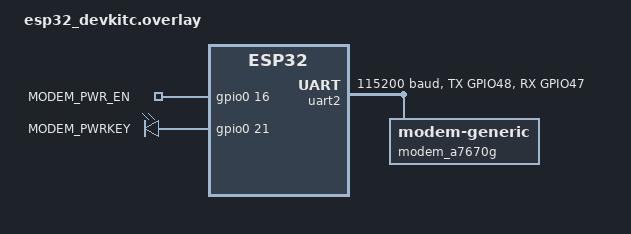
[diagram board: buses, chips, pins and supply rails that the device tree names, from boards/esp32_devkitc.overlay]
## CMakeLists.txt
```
cmake_minimum_required(VERSION 3.20.0)

set(BOARD esp32_devkitc/esp32/procpu)
set(DTC_OVERLAY_FILE boards/esp32_devkitc.overlay)

find_package(Zephyr REQUIRED HINTS $ENV{ZEPHYR_BASE})
project(simcomdemo)

target_sources(app PRIVATE src/main.c)
```

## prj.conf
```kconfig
CONFIG_NEWLIB_LIBC=y

CONFIG_MODEM_MODULES=y
CONFIG_MODEM_BACKEND_UART=y
CONFIG_MODEM_CMUX=y
CONFIG_MODEM_PIPE=y
CONFIG_MODEM_CHAT=y
CONFIG_MODEM_PPP=y

CONFIG_UART_INTERRUPT_DRIVEN=y

CONFIG_NETWORKING=y
CONFIG_NET_L2_PPP=y
CONFIG_NET_IPV4=y
CONFIG_NET_IPV6=n
CONFIG_NET_UDP=y
CONFIG_NET_SOCKETS=y
CONFIG_NET_STATISTICS=y

CONFIG_SHELL=y
CONFIG_NET_SHELL=y
CONFIG_LOG=y

CONFIG_MAIN_STACK_SIZE=8192
CONFIG_HEAP_MEM_POOL_SIZE=65536
```

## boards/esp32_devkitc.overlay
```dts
/ {
    chosen {
        zephyr,ppp-uart = &uart2;
    };

    aliases {
        modem = &modem_a7670g;
    };

    modem_pins: modem_pins {
        compatible = "gpio-leds";

        power: mdm_pwr {
            gpios = <&gpio0 16 GPIO_ACTIVE_HIGH>;
            label = "MODEM_PWR_EN";
        };

        pwrkey: mdm_pwrkey {
            gpios = <&gpio0 21 GPIO_ACTIVE_HIGH>;
            label = "MODEM_PWRKEY";
        };
    };
};

&uart2 {
    status = "okay";
    current-speed = <115200>;
    pinctrl-0 = <&uart2_default>;
    pinctrl-names = "default";

    modem_a7670g: modem {
        compatible = "zephyr,modem-generic";
        status = "okay";
    };
};

&pinctrl {
    uart2_default: uart2_default {
        group1 {
            pinmux = <UART2_TX_GPIO48>;
        };
        group2 {
            pinmux = <UART2_RX_GPIO47>;
            bias-pull-up;
        };
    };
};
```

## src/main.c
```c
#include <zephyr/kernel.h>
#include <zephyr/device.h>
#include <zephyr/drivers/gpio.h>
#include <zephyr/drivers/uart.h>
#include <zephyr/modem/backend/uart.h>
#include <zephyr/modem/pipe.h>
#include <zephyr/modem/chat.h>
#include <zephyr/modem/cmux.h>
#include <zephyr/logging/log.h>

LOG_MODULE_REGISTER(modem, LOG_LEVEL_INF);

#define MODEM_STABILIZATION_MS  100
#define MODEM_PWRKEY_PULSE_MS   100
#define MODEM_BOOT_DELAY_SEC    13

static const struct gpio_dt_spec pwr_en =
    GPIO_DT_SPEC_GET(DT_NODELABEL(power), gpios);
static const struct gpio_dt_spec pwrkey =
    GPIO_DT_SPEC_GET(DT_NODELABEL(pwrkey), gpios);

static uint8_t uart_rx_buf[1024];
static uint8_t uart_tx_buf[256];
static struct modem_backend_uart uart_backend;
static const struct device *uart_dev = DEVICE_DT_GET(DT_NODELABEL(uart2));

static struct modem_chat chat;
static uint8_t chat_rx_buf[512];
static uint8_t *chat_argv[12];
static K_SEM_DEFINE(script_done, 0, 1);

static struct modem_cmux cmux;
static uint8_t cmux_rx_buf[512];
static uint8_t cmux_tx_buf[512];
static K_SEM_DEFINE(cmux_connected_sem, 0, 1);

static struct modem_cmux_dlci dlci_at;
static struct modem_pipe *at_pipe;
static uint8_t at_rx_buf[512];

static struct modem_cmux_dlci dlci_data;
static struct modem_pipe *data_pipe;
static uint8_t data_rx_buf[1500];

static void dump_cb(struct modem_chat *chat,
                    char **argv, uint16_t argc, void *user_data)
{
    for (uint16_t i = 0; i < argc; i++) {
        if (argv[i]) {
            LOG_INF("MODEM RX [%u]: \"%s\"", i, argv[i]);
        }
    }
}

static void script_cb(struct modem_chat *chat,
                      enum modem_chat_script_result result,
                      void *user_data)
{
    LOG_INF("AT script finished (%d)", result);
    k_sem_give(&script_done);
}

static void cmux_event_handler(struct modem_cmux *cmux,
                               enum modem_cmux_event event,
                               void *user_data)
{
    switch (event) {
    case MODEM_CMUX_EVENT_CONNECTED:
        LOG_INF("CMUX connected!");
        k_sem_give(&cmux_connected_sem);
        break;
    case MODEM_CMUX_EVENT_DISCONNECTED:
        LOG_WRN("CMUX disconnected");
        break;
    }
}

static const struct modem_chat_match ok_match =
    MODEM_CHAT_MATCH("OK", "", dump_cb);

static const struct modem_chat_match abort_matches[] = {
    MODEM_CHAT_MATCH("ERROR", "", dump_cb),
};

static const struct modem_chat_script_chat device_cmds[] = {
    MODEM_CHAT_SCRIPT_CMD_RESP("ATE0\r\n", ok_match),
    MODEM_CHAT_SCRIPT_CMD_RESP("AT\r\n", ok_match),
};

MODEM_CHAT_SCRIPT_DEFINE(device_script,
    device_cmds, abort_matches, script_cb, 5);

static const struct modem_chat_script_chat network_cmds[] = {
    MODEM_CHAT_SCRIPT_CMD_RESP("AT+CPIN?\r\n", ok_match),
    MODEM_CHAT_SCRIPT_CMD_RESP("AT+CSQ\r\n", ok_match),
    MODEM_CHAT_SCRIPT_CMD_RESP("AT+CREG?\r\n", ok_match),
};

MODEM_CHAT_SCRIPT_DEFINE(network_script,
    network_cmds, abort_matches, script_cb, 5);

static const struct modem_chat_script_chat cmux_cmds[] = {
    MODEM_CHAT_SCRIPT_CMD_RESP("AT+CMUX=0\r\n", ok_match),
};

MODEM_CHAT_SCRIPT_DEFINE(cmux_script,
    cmux_cmds, abort_matches, script_cb, 5);

static int modem_power_on(void)
{
    int ret;

    if (!gpio_is_ready_dt(&pwr_en)) {
        LOG_ERR("PWR_EN GPIO device not ready");
        return -ENODEV;
    }
    if (!gpio_is_ready_dt(&pwrkey)) {
        LOG_ERR("PWRKEY GPIO device not ready");
        return -ENODEV;
    }

    ret = gpio_pin_configure_dt(&pwr_en, GPIO_OUTPUT_INACTIVE);
    if (ret < 0) return ret;
    ret = gpio_pin_configure_dt(&pwrkey, GPIO_OUTPUT_INACTIVE);
    if (ret < 0) return ret;

    LOG_INF("Step 1: Enabling PWR_EN");
    ret = gpio_pin_set_dt(&pwr_en, 1);
    if (ret < 0) return ret;
    k_sleep(K_MSEC(MODEM_STABILIZATION_MS));

    LOG_INF("Step 2: PWRKEY pulse (%d ms)", MODEM_PWRKEY_PULSE_MS);
    ret = gpio_pin_set_dt(&pwrkey, 1);
    if (ret < 0) return ret;
    k_sleep(K_MSEC(MODEM_PWRKEY_PULSE_MS));
    ret = gpio_pin_set_dt(&pwrkey, 0);
    if (ret < 0) return ret;

    LOG_INF("Step 3: Waiting for modem boot (%d s)...", MODEM_BOOT_DELAY_SEC);
    k_sleep(K_SECONDS(MODEM_BOOT_DELAY_SEC));

    LOG_INF("Modem power-on sequence completed");
    return 0;
}

int main(void)
{
    int ret;

    LOG_INF("Starting Application...");

    ret = modem_power_on();
    if (ret < 0) {
        LOG_ERR("Failed to power on modem: %d. Application halted.", ret);
        return ret;
    }

    if (!device_is_ready(uart_dev)) {
        LOG_ERR("UART device not ready");
        return -ENODEV;
    }
    LOG_INF("UART device ready: %s", uart_dev->name);

    const struct modem_backend_uart_config uart_config = {
        .uart = uart_dev,
        .receive_buf = uart_rx_buf,
        .receive_buf_size = sizeof(uart_rx_buf),
        .transmit_buf = uart_tx_buf,
        .transmit_buf_size = sizeof(uart_tx_buf),
    };

    struct modem_pipe *uart_pipe = modem_backend_uart_init(
        &uart_backend, &uart_config);
    if (uart_pipe == NULL) {
        LOG_ERR("Failed to initialize UART backend");
        return -EIO;
    }
    LOG_INF("UART backend initialized: %p", uart_pipe);

    ret = modem_pipe_open(uart_pipe);
    if (ret < 0) {
        LOG_ERR("Failed to open UART pipe: %d", ret);
        return ret;
    }
    LOG_INF("UART pipe opened");

    modem_chat_init(&chat,
        &(struct modem_chat_config){
            .receive_buf = chat_rx_buf,
            .receive_buf_size = sizeof(chat_rx_buf),
            .delimiter = (uint8_t *)"\r",
            .delimiter_size = 1,
            .filter = (uint8_t *)"\n",
            .filter_size = 1,
            .argv = chat_argv,
            .argv_size = ARRAY_SIZE(chat_argv),
            .unsol_matches = NULL,
            .unsol_matches_size = 0,
        });

    modem_chat_attach(&chat, uart_pipe);
    LOG_INF("Chat attached to UART pipe");

    ret = modem_chat_run_script(&chat, &device_script);
    if (ret < 0) {
        LOG_ERR("device_script failed: %d", ret);
        return ret;
    }
    if (k_sem_take(&script_done, K_SECONDS(10)) != 0) {
        LOG_ERR("device_script timeout");
        return -ETIMEDOUT;
    }

    ret = modem_chat_run_script(&chat, &network_script);
    if (ret < 0) {
        LOG_ERR("network_script failed: %d", ret);
        return ret;
    }
    if (k_sem_take(&script_done, K_SECONDS(10)) != 0) {
        LOG_ERR("network_script timeout");
        return -ETIMEDOUT;
    }

    ret = modem_chat_run_script(&chat, &cmux_script);
    if (ret < 0) {
        LOG_ERR("cmux_script failed: %d", ret);
        return ret;
    }
    if (k_sem_take(&script_done, K_SECONDS(10)) != 0) {
        LOG_ERR("cmux_script timeout");
        return -ETIMEDOUT;
    }
    LOG_INF("AT+CMUX=0 OK");

    /* Détacher le chat avant que CMUX prenne le contrôle */
    modem_chat_release(&chat);
    LOG_INF("Chat detached from UART pipe");

    /* CMUX */
    const struct modem_cmux_config cmux_config = {
        .callback = cmux_event_handler,
        .user_data = NULL,
        .receive_buf = cmux_rx_buf,
        .receive_buf_size = sizeof(cmux_rx_buf),
        .transmit_buf = cmux_tx_buf,
        .transmit_buf_size = sizeof(cmux_tx_buf),
    };

    modem_cmux_init(&cmux, &cmux_config);
    LOG_INF("CMUX initialized");

    ret = modem_cmux_attach(&cmux, uart_pipe);
    if (ret < 0) {
        LOG_ERR("CMUX attach failed: %d", ret);
        return ret;
    }
    LOG_INF("CMUX attached to UART pipe");

    ret = modem_cmux_connect(&cmux);
    if (ret < 0) {
        LOG_ERR("CMUX connect failed: %d", ret);
        return ret;
    }
    LOG_INF("CMUX connection initiated...");

    if (k_sem_take(&cmux_connected_sem, K_SECONDS(10)) != 0) {
        LOG_ERR("CMUX connect timeout");
        return -ETIMEDOUT;
    }
    LOG_INF("CMUX ready");

    /* DLCI 1 — AT */
    at_pipe = modem_cmux_dlci_init(&cmux, &dlci_at,
        &(struct modem_cmux_dlci_config){
            .dlci_address = 1,
            .receive_buf = at_rx_buf,
            .receive_buf_size = sizeof(at_rx_buf),
        });
    if (!at_pipe) {
        LOG_ERR("DLCI 1 init failed");
        return -EIO;
    }

    ret = modem_pipe_open(at_pipe);
    if (ret < 0) {
        LOG_ERR("Failed to open AT pipe: %d", ret);
        return ret;
    }
    LOG_INF("DLCI 1 (AT) pipe opened: %p", at_pipe);

    /* DLCI 2 — DATA */
    data_pipe = modem_cmux_dlci_init(&cmux, &dlci_data,
        &(struct modem_cmux_dlci_config){
            .dlci_address = 2,
            .receive_buf = data_rx_buf,
            .receive_buf_size = sizeof(data_rx_buf),
        });
    if (!data_pipe) {
        LOG_ERR("DLCI 2 init failed");
        return -EIO;
    }

    ret = modem_pipe_open(data_pipe);
    if (ret < 0) {
        LOG_ERR("Failed to open data pipe: %d", ret);
        return ret;
    }
    LOG_INF("DLCI 2 (DATA) pipe opened: %p", data_pipe);

    /* Rattacher le chat sur DLCI 1 */
    modem_chat_attach(&chat, at_pipe);
    LOG_INF("Chat attached to DLCI 1");

    LOG_INF("Step 3 complete — CMUX ready, chat on DLCI1");

    while (1) {
        k_sleep(K_FOREVER);
    }

    return 0;
}
```
